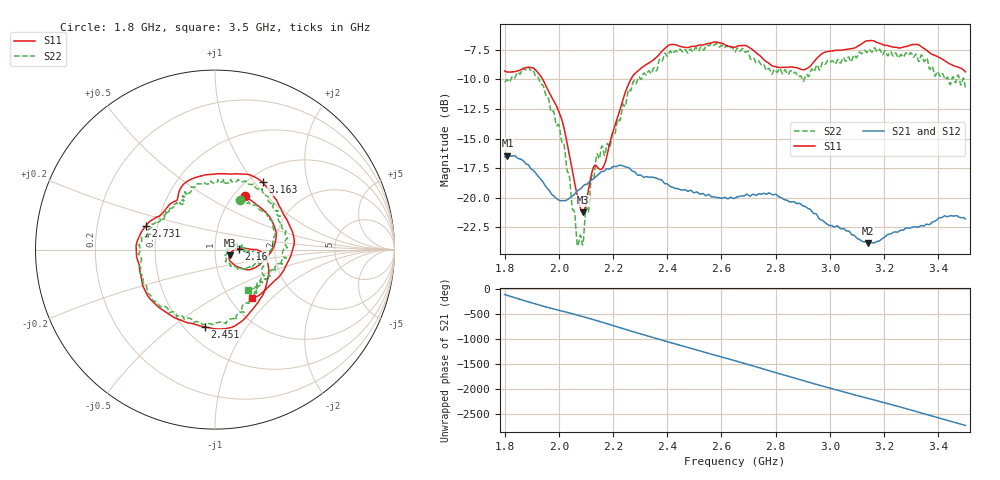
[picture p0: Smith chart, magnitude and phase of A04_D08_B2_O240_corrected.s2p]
! Created with skrf 1.9.0 (http://scikit-rf.org).
# Hz S RI R 50.0
!freq ReS11 ImS11 ReS21 ImS21 ReS12 ImS12 ReS22 ImS22
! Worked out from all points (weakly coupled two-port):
!   1601 points, 1.8 GHz to 3.5 GHz, reference 50 ohm
!   highest |S21| = -16.44 dB at 1.811 GHz (marker M1); lowest = -23.8 dB at 3.141 GHz (marker M2)
!   lowest |S11| = -21.2 dB at 2.089 GHz (marker M3), VSWR 1.19, Z = 58.7 - j3.64 ohm
!   |S11| at or under -10 dB: 1.941 GHz to 2.266 GHz (325.3 MHz wide, 15.5 % of centre)
!   |S22| runs from -24.1 to -7.0 dB; largest |S21 - S12| = 0.0031
!   S11 on the Smith chart (normalised r, x): 1.8 GHz: 1.12, +0.76; 2.16 GHz: 1.31, +0.01; 2.451 GHz: 0.62, -0.66; 2.731 GHz: 0.43, +0.14; 3.163 GHz: 1.16, +1.10; 3.5 GHz: 1.27, -0.77
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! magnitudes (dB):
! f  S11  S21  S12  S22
! 1.8 GHz  -9.3  -16.5  -16.5  -10.2
! 1.811 GHz  -9.4  -16.4  -16.4  -10.1
! 1.888 GHz  -9.0  -17.2  -17.3  -9.0
! 1.942 GHz  -10.1  -18.7  -18.7  -10.5
! 2.011 GHz  -13.4  -20.2  -20.2  -15.3
! 2.067 GHz  -19.7  -19.5  -19.5  -23.7
! 2.084 GHz  -21.1  -19.2  -19.1  -23.5
! 2.089 GHz  -21.2  -19.0  -19.1  -23.9
! 2.127 GHz  -17.5  -18.4  -18.4  -18.3
! 2.16 GHz  -17.5  -17.8  -17.7  -15.6
! 2.263 GHz  -10.1  -17.6  -17.6  -11.0
! 2.367 GHz  -8.0  -18.4  -18.4  -8.6
! 2.451 GHz  -7.2  -19.3  -19.3  -7.5
! 2.65 GHz  -7.3  -20.0  -20.0  -7.7
! 2.731 GHz  -7.8  -19.8  -19.8  -8.6
! 2.805 GHz  -9.0  -19.8  -19.8  -9.4
! 2.934 GHz  -8.7  -21.2  -21.1  -9.1
! 3.141 GHz  -6.7  -23.8  -23.7  -7.6
! 3.163 GHz  -6.8  -23.8  -23.8  -7.4
! 3.217 GHz  -7.2  -23.1  -23.1  -7.9
! 3.326 GHz  -7.1  -22.5  -22.5  -8.4
! 3.5 GHz  -9.4  -21.8  -21.8  -10.8
